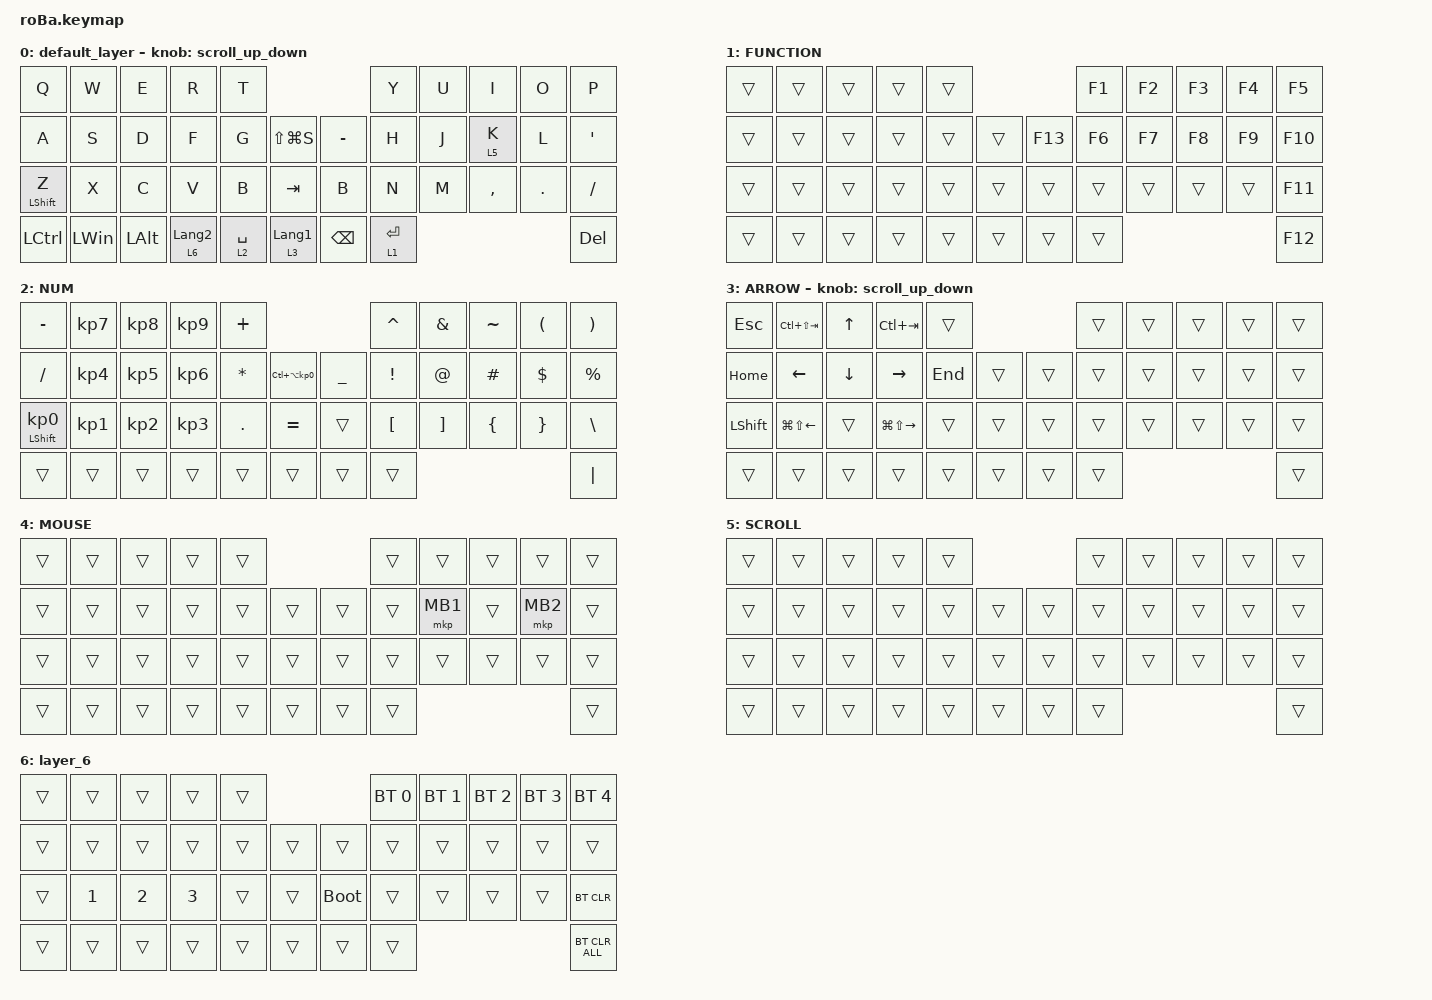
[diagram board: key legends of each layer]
#include <dt-bindings/zmk/mouse.h>
#include <behaviors.dtsi>
#include <dt-bindings/zmk/bt.h>
#include <dt-bindings/zmk/keys.h>
#include <dt-bindings/zmk/pointing.h>

// 修正1: スクロール量を半分に変更 (100 -> 50)

#define ZMK_MOUSE_POINTING_SCRL_VAL 25

&mt {
    flavor = "balanced";
    quick-tap-ms = <0>;
};

&trackball {
    automouse-layer = <4>;
    scroll-layers = <5>;
};

/ {
    combos {
        compatible = "zmk,combos";

        tab {
            bindings = <&kp TAB>;
            key-positions = <11 12>;
        };

        shift_tab {
            bindings = <&kp LS(TAB)>;
            key-positions = <12 13>;
        };

        muhennkann {
            bindings = <&to_layer_0 &kp INT_MUHENKAN>;
            key-positions = <11 10>;
        };

        double_quotation {
            bindings = <&kp DOUBLE_QUOTES>;
            key-positions = <20 21>;
        };

        eq {
            bindings = <&kp EQUAL>;
            key-positions = <24 25>;
        };
    };

    macros {
        to_layer_0: to_layer_0 {
            compatible = "zmk,behavior-macro-one-param";
            #binding-cells = <1>;
            bindings = <&to 0 &macro_param_1to1>;
            label = "TO_LAYER_0";
        };
    };

    behaviors {
        lt_to_layer_0: lt_to_layer_0 {
            compatible = "zmk,behavior-hold-tap";
            label = "LAYER_TAP_TO_0";
            bindings = <&mo>, <&to_layer_0>;

            #binding-cells = <2>;
            tapping-term-ms = <200>;
        };

        scroll_up_down: behavior_sensor_rotate_mouse_wheel_up_down {
            compatible = "zmk,behavior-sensor-rotate";
            #sensor-binding-cells = <0>;

            // 修正2: スクロール方向を反転 (UPとDOWNを入れ替え)

            bindings = <&msc SCRL_UP>, <&msc SCRL_DOWN>;

            tap-ms = <20>;
        };
    };

    keymap {
        compatible = "zmk,keymap";

        default_layer {
            bindings = <
&kp Q             &kp W         &kp E         &kp R             &kp T                                             &kp Y        &kp U  &kp I      &kp O    &kp P
&kp A             &kp S         &kp D         &kp F             &kp G        &kp LS(LG(S))         &kp MINUS      &kp H        &kp J  &lt 5 K    &kp L    &kp SQT
&mt LEFT_SHIFT Z  &kp X         &kp C         &kp V             &kp B        &kp TAB               &kp B          &kp N        &kp M  &kp COMMA  &kp DOT  &kp SLASH
&kp LCTRL         &kp LEFT_WIN  &kp LEFT_ALT  &lt 6 LANGUAGE_2  &lt 2 SPACE  &lt 3 LANGUAGE_1      &kp BACKSPACE  &lt 1 ENTER                             &kp DEL
            >;

            // 修正3: デフォルトレイヤーのエンコーダー(PageUp/Down)も方向を反転

            sensor-bindings = <&scroll_up_down>;
        };

        FUNCTION {
            bindings = <
&trans  &trans  &trans  &trans  &trans                       &kp F1  &kp F2  &kp F3  &kp F4  &kp F5
&trans  &trans  &trans  &trans  &trans  &trans      &kp F13  &kp F6  &kp F7  &kp F8  &kp F9  &kp F10
&trans  &trans  &trans  &trans  &trans  &trans      &trans   &trans  &trans  &trans  &trans  &kp F11
&trans  &trans  &trans  &trans  &trans  &trans      &trans   &trans                          &kp F12
            >;
        };

        NUM {
            bindings = <
&kp MINUS                   &kp KP_NUMBER_7  &kp KP_NUMBER_8  &kp KP_NUMBER_9  &kp PLUS                                                   &kp CARET         &kp AMPERSAND      &kp TILDE       &kp LEFT_PARENTHESIS  &kp RIGHT_PARENTHESIS
&kp SLASH                   &kp KP_NUMBER_4  &kp KP_NUMBER_5  &kp KP_NUMBER_6  &kp ASTERISK  &kp LC(LA(KP_NUMBER_0))      &kp UNDERSCORE  &kp EXCLAMATION   &kp AT_SIGN        &kp HASH        &kp DOLLAR            &kp PERCENT
&mt LEFT_SHIFT KP_NUMBER_0  &kp KP_NUMBER_1  &kp KP_NUMBER_2  &kp KP_NUMBER_3  &kp PERIOD    &kp EQUAL                    &trans          &kp LEFT_BRACKET  &kp RIGHT_BRACKET  &kp LEFT_BRACE  &kp RIGHT_BRACE       &kp BACKSLASH
&trans                      &trans           &trans           &trans           &trans        &trans                       &trans          &trans                                                                     &kp PIPE
            >;
        };

        ARROW {
            bindings = <
&kp ESCAPE      &kp LC(LS(TAB))         &kp UP_ARROW    &kp LC(TAB)              &trans                       &trans  &trans  &trans  &trans  &trans
&kp HOME        &kp LEFT_ARROW          &kp DOWN_ARROW  &kp RIGHT_ARROW          &kp END  &trans      &trans  &trans  &trans  &trans  &trans  &trans
&kp LEFT_SHIFT  &kp LG(LS(LEFT_ARROW))  &trans          &kp LG(LS(RIGHT_ARROW))  &trans   &trans      &trans  &trans  &trans  &trans  &trans  &trans
&trans          &trans                  &trans          &trans                   &trans   &trans      &trans  &trans                          &trans
            >;

            sensor-bindings = <&scroll_up_down>;
        };

        MOUSE {
            bindings = <
&trans  &trans  &trans  &trans  &trans                      &trans  &trans    &trans  &trans    &trans
&trans  &trans  &trans  &trans  &trans  &trans      &trans  &trans  &mkp MB1  &trans  &mkp MB2  &trans
&trans  &trans  &trans  &trans  &trans  &trans      &trans  &trans  &trans    &trans  &trans    &trans
&trans  &trans  &trans  &trans  &trans  &trans      &trans  &trans                              &trans
            >;
        };

        SCROLL {
            bindings = <
&trans  &trans  &trans  &trans  &trans                      &trans  &trans  &trans  &trans  &trans
&trans  &trans  &trans  &trans  &trans  &trans      &trans  &trans  &trans  &trans  &trans  &trans
&trans  &trans  &trans  &trans  &trans  &trans      &trans  &trans  &trans  &trans  &trans  &trans
&trans  &trans  &trans  &trans  &trans  &trans      &trans  &trans                          &trans
            >;
        };

        layer_6 {
            bindings = <
&trans  &trans        &trans        &trans        &trans                           &bt BT_SEL 0  &bt BT_SEL 1  &bt BT_SEL 2  &bt BT_SEL 3  &bt BT_SEL 4
&trans  &trans        &trans        &trans        &trans  &trans      &trans       &trans        &trans        &trans        &trans        &trans
&trans  &kp NUMBER_1  &kp NUMBER_2  &kp NUMBER_3  &trans  &trans      &bootloader  &trans        &trans        &trans        &trans        &bt BT_CLR
&trans  &trans        &trans        &trans        &trans  &trans      &trans       &trans                                                  &bt BT_CLR_ALL
            >;
        };
    };
};
